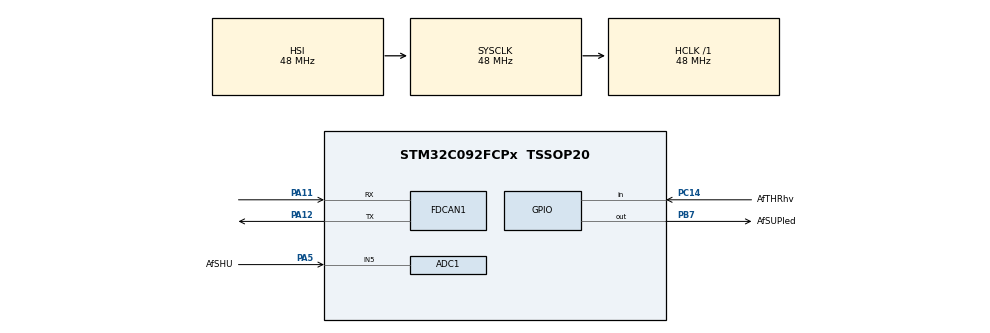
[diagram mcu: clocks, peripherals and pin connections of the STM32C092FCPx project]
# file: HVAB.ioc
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ADC1.ContinuousConvMode=DISABLE
ADC1.DMAContinuousRequests=ENABLE
ADC1.NbrOfConversionFlag=0
ADC1.SamplingTimeCommon1=ADC_SAMPLETIME_160CYCLES_5
ADC1.SelectedChannel=ADC_CHANNEL_5
ADC1.TriggerFrequencyMode=ADC_TRIGGER_FREQ_LOW
ADC1.master=1
Dma.ADC1.0.Direction=DMA_PERIPH_TO_MEMORY
Dma.ADC1.0.EventEnable=DISABLE
Dma.ADC1.0.Instance=DMA1_Channel1
Dma.ADC1.0.MemDataAlignment=DMA_MDATAALIGN_HALFWORD
Dma.ADC1.0.MemInc=DMA_MINC_ENABLE
Dma.ADC1.0.Mode=DMA_CIRCULAR
Dma.ADC1.0.PeriphDataAlignment=DMA_PDATAALIGN_HALFWORD
Dma.ADC1.0.PeriphInc=DMA_PINC_DISABLE
Dma.ADC1.0.Polarity=HAL_DMAMUX_REQ_GEN_RISING
Dma.ADC1.0.Priority=DMA_PRIORITY_LOW
Dma.ADC1.0.RequestNumber=1
Dma.ADC1.0.SignalID=NONE
Dma.ADC1.0.SyncEnable=DISABLE
Dma.ADC1.0.SyncPolarity=HAL_DMAMUX_SYNC_NO_EVENT
Dma.ADC1.0.SyncRequestNumber=1
Dma.ADC1.0.SyncSignalID=NONE
Dma.Request0=ADC1
FDCAN1.CalculateBaudRateNominal=250000
FDCAN1.CalculateTimeBitNominal=4000
FDCAN1.CalculateTimeQuantumNominal=250.0
FDCAN1.NominalPrescaler=12
FDCAN1.NominalTimeSeg1=13
FDCAN1.NominalTimeSeg2=2
Mcu.Family=STM32C0
Mcu.Name=STM32C092FCPx
Mcu.Package=TSSOP20
NVIC.DMA1_Channel1_IRQn=true\:0\:0\:false\:false\:true\:false\:true\:true
PA11\ [PA9].Mode=FDCAN_Activate
PA11\ [PA9].Signal=FDCAN1_RX
PA12\ [PA10].Mode=FDCAN_Activate
PA12\ [PA10].Signal=FDCAN1_TX
PA13.Mode=Serial_Wire
PA13.Signal=DEBUG_SWDIO
PA14-BOOT0.Mode=Serial_Wire
PA14-BOOT0.Signal=DEBUG_SWCLK
PA14-BOOT0__PA15.StandardMode=true
PA5.GPIO_Label=AfSHU
PA5.Mode=IN5
PA5.Signal=ADC1_IN5
PB0__PB1__PB2__PA8.StandardMode=true
PB3__PB4__PB5__PB6.StandardMode=true
PB7.GPIO_Label=AfSUPled
PB7.Signal=GPIO_Output
PB7__PB8.StandardMode=true
PC14-OSCX_IN(PC14).GPIO_Label=AfTHRhv
PC14-OSCX_IN(PC14).Signal=GPIO_Input
ProjectManager.HeapSize=0x200
ProjectManager.StackSize=0x400
ProjectManager.TargetToolchain=STM32CubeIDE
RCC.ADCCLockSelection=RCC_ADCCLKSOURCE_HSIKER
RCC.ADCFreq_Value=6000000
RCC.AHBFreq_Value=48000000
RCC.CortexFreq_Value=48000000
RCC.EXTERNAL_CLOCK_VALUE=12288000
RCC.HCLKFreq_Value=48000000
RCC.HSE_VALUE=8000000
RCC.HSIKERCLKDivider=RCC_HSIKER_DIV8
RCC.HSISYSCLKDivider=RCC_HSI_DIV1
RCC.HSI_VALUE=48000000
RCC.LSE_VALUE=32768
RCC.SYSCLKFreq_VALUE=48000000
board=custom

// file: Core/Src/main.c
/* USER CODE BEGIN Header */
/**
  ******************************************************************************
  * @file           : main.c
  * @brief          : Main program body
  ******************************************************************************
  * @attention
  *
  * Copyright (c) 2026 STMicroelectronics.
  * All rights reserved.
  *
  * This software is licensed under terms that can be found in the LICENSE file
  * in the root directory of this software component.
  * If no LICENSE file comes with this software, it is provided AS-IS.
  *
  ******************************************************************************
  */
/* USER CODE END Header */
#include "main.h"

/* USER CODE BEGIN Includes */
#include"can.h"
#include "f2p.h"
/* USER CODE END Includes */

ADC_HandleTypeDef hadc1;
DMA_HandleTypeDef hdma_adc1;

FDCAN_HandleTypeDef hfdcan1;

/* USER CODE BEGIN PV */
#define DMA_CH1 1
uint32_t DICCDMA[DMA_CH1];
/* USER CODE END PV */

void SystemClock_Config(void);
void PeriphCommonClock_Config(void);
static void MX_GPIO_Init(void);
static void MX_DMA_Init(void);
static void MX_FDCAN1_Init(void);
static void MX_ADC1_Init(void);

int main(void)
{

  /* MCU Configuration--------------------------------------------------------*/

  /* Reset of all peripherals, Initializes the Flash interface and the Systick. */
  HAL_Init();

  /* Configure the system clock */
  SystemClock_Config();

  /* Configure the peripherals common clocks */
  PeriphCommonClock_Config();

  /* Initialize all configured peripherals */
  MX_GPIO_Init();
  MX_DMA_Init();
  MX_FDCAN1_Init();
  MX_ADC1_Init();
  /* USER CODE BEGIN 2 */
  DICCF_t DICCF = {0};
  DICCP_t DICCP = {0};
  CAN_Init_Custom(&hfdcan1);
  HAL_ADCEx_Calibration_Start(&hadc1);
  /* USER CODE END 2 */

  /* Infinite loop */
  while (1)
  {

    /* USER CODE BEGIN 3 */
	  HAL_ADC_Start_DMA(&hadc1, (uint32_t*)DICCDMA, DMA_CH1);

	  uint8_t Msg[3] = {0};

	  HAL_GPIO_WritePin(GPIOB, AfSUPled_Pin, GPIO_PIN_RESET);

	  DIG2DICCF(&DICCF);

	  DMA2DICCF(&DICCF, DICCDMA);

	  DICCF2DICCP(&DICCF, &DICCP);

	  CAN_Msg_Maker(&DICCP, Msg);

	  CAN_Send(&hfdcan1, 0x300, Msg, 3);

	  HAL_Delay(10);
  }
  /* USER CODE END 3 */
}

void SystemClock_Config(void)
{
  RCC_OscInitTypeDef RCC_OscInitStruct = {0};
  RCC_ClkInitTypeDef RCC_ClkInitStruct = {0};

  __HAL_FLASH_SET_LATENCY(FLASH_LATENCY_1);

  /** Initializes the RCC Oscillators according to the specified parameters
  * in the RCC_OscInitTypeDef structure.
  */
  RCC_OscInitStruct.OscillatorType = RCC_OSCILLATORTYPE_HSI;
  RCC_OscInitStruct.HSIState = RCC_HSI_ON;
  RCC_OscInitStruct.HSIDiv = RCC_HSI_DIV1;
  RCC_OscInitStruct.HSICalibrationValue = RCC_HSICALIBRATION_DEFAULT;
  if (HAL_RCC_OscConfig(&RCC_OscInitStruct) != HAL_OK)
  {
    Error_Handler();
  }

  /** Initializes the CPU, AHB and APB buses clocks
  */
  RCC_ClkInitStruct.ClockType = RCC_CLOCKTYPE_HCLK|RCC_CLOCKTYPE_SYSCLK
                              |RCC_CLOCKTYPE_PCLK1;
  RCC_ClkInitStruct.SYSCLKSource = RCC_SYSCLKSOURCE_HSI;
  RCC_ClkInitStruct.SYSCLKDivider = RCC_SYSCLK_DIV1;
  RCC_ClkInitStruct.AHBCLKDivider = RCC_HCLK_DIV1;
  RCC_ClkInitStruct.APB1CLKDivider = RCC_APB1_DIV1;

  if (HAL_RCC_ClockConfig(&RCC_ClkInitStruct, FLASH_LATENCY_1) != HAL_OK)
  {
    Error_Handler();
  }
}

void PeriphCommonClock_Config(void)
{
  RCC_PeriphCLKInitTypeDef PeriphClkInit = {0};

  /** Initializes the common peripherals clocks
  */
  PeriphClkInit.PeriphClockSelection = RCC_PERIPHCLK_HSIKER;
  PeriphClkInit.HSIKerClockDivider = RCC_HSIKER_DIV8;

  if (HAL_RCCEx_PeriphCLKConfig(&PeriphClkInit) != HAL_OK)
  {
    Error_Handler();
  }
}

static void MX_ADC1_Init(void)
{

  ADC_ChannelConfTypeDef sConfig = {0};

  /** Configure the global features of the ADC (Clock, Resolution, Data Alignment and number of conversion)
  */
  hadc1.Instance = ADC1;
  hadc1.Init.ClockPrescaler = ADC_CLOCK_SYNC_PCLK_DIV2;
  hadc1.Init.Resolution = ADC_RESOLUTION_12B;
  hadc1.Init.DataAlign = ADC_DATAALIGN_RIGHT;
  hadc1.Init.ScanConvMode = ADC_SCAN_SEQ_FIXED;
  hadc1.Init.EOCSelection = ADC_EOC_SINGLE_CONV;
  hadc1.Init.LowPowerAutoWait = DISABLE;
  hadc1.Init.LowPowerAutoPowerOff = DISABLE;
  hadc1.Init.ContinuousConvMode = DISABLE;
  hadc1.Init.NbrOfConversion = 1;
  hadc1.Init.DiscontinuousConvMode = DISABLE;
  hadc1.Init.ExternalTrigConv = ADC_SOFTWARE_START;
  hadc1.Init.ExternalTrigConvEdge = ADC_EXTERNALTRIGCONVEDGE_NONE;
  hadc1.Init.DMAContinuousRequests = ENABLE;
  hadc1.Init.Overrun = ADC_OVR_DATA_PRESERVED;
  hadc1.Init.SamplingTimeCommon1 = ADC_SAMPLETIME_160CYCLES_5;
  hadc1.Init.OversamplingMode = DISABLE;
  hadc1.Init.TriggerFrequencyMode = ADC_TRIGGER_FREQ_LOW;
  if (HAL_ADC_Init(&hadc1) != HAL_OK)
  {
    Error_Handler();
  }

  /** Configure Regular Channel
  */
  sConfig.Channel = ADC_CHANNEL_5;
  sConfig.Rank = ADC_RANK_CHANNEL_NUMBER;
  if (HAL_ADC_ConfigChannel(&hadc1, &sConfig) != HAL_OK)
  {
    Error_Handler();
  }

}

static void MX_FDCAN1_Init(void)
{

  hfdcan1.Instance = FDCAN1;
  hfdcan1.Init.ClockDivider = FDCAN_CLOCK_DIV1;
  hfdcan1.Init.FrameFormat = FDCAN_FRAME_CLASSIC;
  hfdcan1.Init.Mode = FDCAN_MODE_NORMAL;
  hfdcan1.Init.AutoRetransmission = DISABLE;
  hfdcan1.Init.TransmitPause = DISABLE;
  hfdcan1.Init.ProtocolException = DISABLE;
  hfdcan1.Init.NominalPrescaler = 12;
  hfdcan1.Init.NominalSyncJumpWidth = 1;
  hfdcan1.Init.NominalTimeSeg1 = 13;
  hfdcan1.Init.NominalTimeSeg2 = 2;
  hfdcan1.Init.DataPrescaler = 1;
  hfdcan1.Init.DataSyncJumpWidth = 1;
  hfdcan1.Init.DataTimeSeg1 = 1;
  hfdcan1.Init.DataTimeSeg2 = 1;
  hfdcan1.Init.StdFiltersNbr = 0;
  hfdcan1.Init.ExtFiltersNbr = 0;
  hfdcan1.Init.TxFifoQueueMode = FDCAN_TX_FIFO_OPERATION;
  if (HAL_FDCAN_Init(&hfdcan1) != HAL_OK)
  {
    Error_Handler();
  }

}

static void MX_DMA_Init(void)
{

  /* DMA controller clock enable */
  __HAL_RCC_DMA1_CLK_ENABLE();

  /* DMA interrupt init */
  /* DMA1_Channel1_IRQn interrupt configuration */
  HAL_NVIC_SetPriority(DMA1_Channel1_IRQn, 0, 0);
  HAL_NVIC_EnableIRQ(DMA1_Channel1_IRQn);

}

static void MX_GPIO_Init(void)
{
  GPIO_InitTypeDef GPIO_InitStruct = {0};

  /* GPIO Ports Clock Enable */
  __HAL_RCC_GPIOB_CLK_ENABLE();
  __HAL_RCC_GPIOC_CLK_ENABLE();
  __HAL_RCC_GPIOA_CLK_ENABLE();

  /*Configure GPIO pin Output Level */
  HAL_GPIO_WritePin(AfSUPled_GPIO_Port, AfSUPled_Pin, GPIO_PIN_RESET);

  /*Configure GPIO pin : AfSUPled_Pin */
  GPIO_InitStruct.Pin = AfSUPled_Pin;
  GPIO_InitStruct.Mode = GPIO_MODE_OUTPUT_PP;
  GPIO_InitStruct.Pull = GPIO_NOPULL;
  GPIO_InitStruct.Speed = GPIO_SPEED_FREQ_LOW;
  HAL_GPIO_Init(AfSUPled_GPIO_Port, &GPIO_InitStruct);

  /*Configure GPIO pin : AfTHRhv_Pin */
  GPIO_InitStruct.Pin = AfTHRhv_Pin;
  GPIO_InitStruct.Mode = GPIO_MODE_INPUT;
  GPIO_InitStruct.Pull = GPIO_NOPULL;
  HAL_GPIO_Init(AfTHRhv_GPIO_Port, &GPIO_InitStruct);

}

void Error_Handler(void)
{
  __disable_irq();
  while (1)
  {
  }
}
